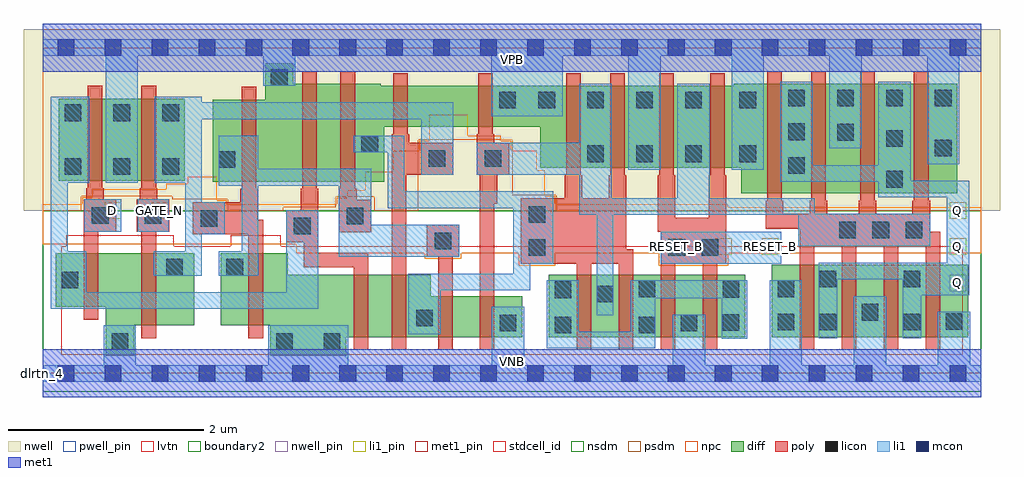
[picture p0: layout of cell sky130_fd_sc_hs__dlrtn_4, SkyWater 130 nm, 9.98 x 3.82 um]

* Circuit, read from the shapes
.subckt sky130_fd_sc_hs__dlrtn_4 D GATE_N Q RESET_B VGND VNB VPB VPWR
XM1 VGND D n1 VNB sky130_fd_pr__nfet_01v8_lvt w=0.55 l=0.15
XM2 n2 GATE_N VGND VNB sky130_fd_pr__nfet_01v8_lvt w=0.74 l=0.15
XM3 VGND n2 n3 VNB sky130_fd_pr__nfet_01v8_lvt w=0.74 l=0.15
XM4 n4 n1 VGND VNB sky130_fd_pr__nfet_01v8_lvt w=0.64 l=0.15
XM5 n5 n2 n4 VNB sky130_fd_pr__nfet_01v8_lvt w=0.64 l=0.15
XM6 n6 n3 n5 VNB sky130_fd_pr__nfet_01v8_lvt w=0.42 l=0.15
XM7 VGND n7 n6 VNB sky130_fd_pr__nfet_01v8_lvt w=0.42 l=0.15
XM8 n7 n5 n8 VNB sky130_fd_pr__nfet_01v8_lvt w=0.64 l=0.15 m=2
XM9 VGND RESET_B n8 VNB sky130_fd_pr__nfet_01v8_lvt w=0.64 l=0.15 m=2
XM10 Q n7 VGND VNB sky130_fd_pr__nfet_01v8_lvt w=0.74 l=0.15 m=4
XM11 VPWR D n1 VPB sky130_fd_pr__pfet_01v8 w=0.84 l=0.15
XM12 n2 GATE_N VPWR VPB sky130_fd_pr__pfet_01v8 w=0.84 l=0.15
XM13 VPWR n2 n3 VPB sky130_fd_pr__pfet_01v8 w=0.84 l=0.15
XM14 n9 n1 VPWR VPB sky130_fd_pr__pfet_01v8 w=1 l=0.15
XM15 n5 n3 n9 VPB sky130_fd_pr__pfet_01v8 w=1 l=0.15
XM16 n10 n2 n5 VPB sky130_fd_pr__pfet_01v8 w=0.42 l=0.15
XM17 VPWR n7 n10 VPB sky130_fd_pr__pfet_01v8 w=0.42 l=0.15
XM18 n7 n5 VPWR VPB sky130_fd_pr__pfet_01v8 w=0.84 l=0.15 m=2
XM19 n7 RESET_B VPWR VPB sky130_fd_pr__pfet_01v8 w=0.84 l=0.15 m=2
XM20 Q n7 VPWR VPB sky130_fd_pr__pfet_01v8 w=1.12 l=0.15 m=4
.ends

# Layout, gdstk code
import gdstk
lib = gdstk.Library(unit=1e-6, precision=1e-09)
def R(c, l, rs):  # rectangles x0, y0, x1, y1
    for r in rs: c.add(gdstk.rectangle(r[:2], r[2:], *l))
def A(c, l, x, y, w, h, nx, ny, dx, dy):  # array of equal rectangles
    R(c, l, [(x+i*dx, y+j*dy, x+i*dx+w, y+j*dy+h) for i in range(nx) for j in range(ny)])
def P(c, l, *ps):  # polygons
    for p in ps: c.add(gdstk.Polygon(p, *l))
nwell_pin = (64, 16)
nwell = (64, 20)
diff = (65, 20)
poly = (66, 20)
licon = (66, 44)
li1_pin = (67, 16)
li1 = (67, 20)
mcon = (67, 44)
met1_pin = (68, 16)
met1 = (68, 20)
stdcell_id = (81, 4)
nsdm = (93, 44)
psdm = (94, 20)
npc = (95, 20)
pwell_pin = (122, 16)
lvtn = (125, 44)
boundary2 = (236, 0)

sky130_fd_sc_hs__dlrtn_4 = lib.new_cell('sky130_fd_sc_hs__dlrtn_4')
R(sky130_fd_sc_hs__dlrtn_4, nwell_pin, [(0,3.085,9.6,3.33)])
R(sky130_fd_sc_hs__dlrtn_4, nwell, [(-0.19,1.66,9.79,3.52)])
R(sky130_fd_sc_hs__dlrtn_4, diff, [(5.175,0.37,7.185,1.01), (7.455,0.37,9.465,1.11), (0.165,1.97,1.455,2.81)])
P(sky130_fd_sc_hs__dlrtn_4, diff, [(1.55,1.23),(0.135,1.23),(0.135,0.68),(0.645,0.68),(0.645,0.18),(0.935,0.18),(0.935,0.49),(1.55,0.49)],
  [(4.905,0.79),(3.97,0.79),(3.97,1.01),(2.505,1.01),(2.505,1.23),(1.82,1.23),(1.82,0.49),(2.33,0.49),(2.33,0.18),(3.105,0.18),(3.105,0.37),(4.905,0.37)],
  [(9.355,2.96),(7.065,2.96),(7.065,2.94),(3.46,2.94),(3.46,2.96),(2.565,2.96),(2.565,3.17),(2.275,3.17),(2.275,2.8),(1.74,2.8),(1.74,1.96),(3.495,1.96),(3.495,2.52),(5.09,2.52),(5.09,2.1),(7.145,2.1),(7.145,1.84),(9.355,1.84)])
P(sky130_fd_sc_hs__dlrtn_4, poly, [(9.18,1.45),(9.075,1.45),(9.075,1.765),(9.06,1.765),(9.06,3.09),(8.91,3.09),(8.91,1.765),(8.895,1.765),(8.895,1.63),(8.525,1.63),(8.525,1.765),(8.51,1.765),(8.51,3.09),(8.36,3.09),(8.36,1.765),(8.345,1.765),(8.345,1.63),(8.025,1.63),(8.025,1.765),(8.01,1.765),(8.01,3.09),(7.86,3.09),(7.86,1.765),(7.845,1.765),(7.845,1.63),(7.575,1.63),(7.575,1.765),(7.56,1.765),(7.56,3.09),(7.41,3.09),(7.41,1.765),(7.395,1.765),(7.395,1.48),(7.74,1.48),(7.74,0.24),(7.89,0.24),(7.89,1.3),(8.17,1.3),(8.17,0.24),(8.32,0.24),(8.32,1.3),(8.6,1.3),(8.6,0.24),(8.75,0.24),(8.75,1.3),(9.03,1.3),(9.03,0.24),(9.18,0.24)],
  [(6.99,2.025),(6.975,2.025),(6.975,3.07),(6.825,3.07),(6.825,2.025),(6.81,2.025),(6.81,1.59),(6.47,1.59),(6.47,2.025),(6.455,2.025),(6.455,3.07),(6.305,3.07),(6.305,2.025),(6.29,2.025),(6.29,1.45),(6.32,1.45),(6.32,0.24),(6.47,0.24),(6.47,1.12),(6.75,1.12),(6.75,0.24),(6.9,0.24),(6.9,1.12),(6.99,1.12)],
  [(6.04,1.27),(5.97,1.27),(5.97,2.025),(5.955,2.025),(5.955,3.07),(5.805,3.07),(5.805,2.025),(5.79,2.025),(5.79,1.79),(5.52,1.79),(5.52,2.025),(5.505,2.025),(5.505,3.07),(5.355,3.07),(5.355,2.025),(5.34,2.025),(5.34,1.79),(4.89,1.79),(4.89,1.12),(5.46,1.12),(5.46,0.24),(5.61,0.24),(5.61,1.12),(5.89,1.12),(5.89,0.24),(6.04,0.24)],
  [(4.77,2.36),(4.62,2.36),(4.62,2.445),(4.605,2.445),(4.605,3.07),(4.455,3.07),(4.455,2.445),(4.44,2.445),(4.44,2.03),(4.47,2.03),(4.47,0.24),(4.62,0.24),(4.62,1.735),(4.65,1.735),(4.65,2.03),(4.77,2.03)],
  [(4.26,1.52),(3.93,1.52),(3.93,1.19),(4.045,1.19),(4.045,0.24),(4.195,0.24),(4.195,1.19),(4.26,1.19)],
  [(4.2,2.36),(3.75,2.36),(3.75,2.445),(3.735,2.445),(3.735,3.07),(3.585,3.07),(3.585,2.445),(3.57,2.445),(3.57,0.24),(3.72,0.24),(3.72,2.03),(4.2,2.03)],
  [(3.36,1.775),(3.21,1.775),(3.21,1.885),(3.195,1.885),(3.195,3.09),(3.045,3.09),(3.045,1.885),(3.03,1.885),(3.03,1.445),(3.36,1.445)],
  [(3.33,1.235),(2.82,1.235),(2.82,1.885),(2.805,1.885),(2.805,3.09),(2.655,3.09),(2.655,1.885),(2.64,1.885),(2.64,1.67),(2.49,1.67),(2.49,1.34),(2.67,1.34),(2.67,1.085),(3.18,1.085),(3.18,0.24),(3.33,0.24)],
  [(2.255,1.57),(2.2,1.57),(2.2,1.885),(2.185,1.885),(2.185,2.93),(2.035,2.93),(2.035,1.885),(2.02,1.885),(2.02,1.75),(1.535,1.75),(1.535,1.42),(2.105,1.42),(2.105,0.36),(2.255,0.36)],
  [(1.295,1.78),(1.175,1.78),(1.175,1.895),(1.16,1.895),(1.16,2.94),(1.01,2.94),(1.01,1.895),(0.995,1.895),(0.995,1.78),(0.965,1.78),(0.965,1.45),(1.01,1.45),(1.01,0.36),(1.16,0.36),(1.16,1.45),(1.295,1.45)],
  [(0.755,1.78),(0.625,1.78),(0.625,1.895),(0.61,1.895),(0.61,2.94),(0.46,2.94),(0.46,1.895),(0.445,1.895),(0.445,1.78),(0.42,1.78),(0.42,0.55),(0.57,0.55),(0.57,1.45),(0.755,1.45)])
A(sky130_fd_sc_hs__dlrtn_4, licon, 8.145, 1.38, 0.17, 0.17, 3, 1, 0.34, 0)
A(sky130_fd_sc_hs__dlrtn_4, licon, 0.225, 2.03, 0.17, 0.17, 3, 2, 0.5, 0.55)
A(sky130_fd_sc_hs__dlrtn_4, licon, 5.57, 2.16, 0.17, 0.17, 3, 1, 0.5, 0)
A(sky130_fd_sc_hs__dlrtn_4, licon, 5.07, 2.71, 0.17, 0.17, 4, 1, 0.5, 0)
A(sky130_fd_sc_hs__dlrtn_4, licon, 7.625, 2.73, 0.17, 0.17, 4, 1, 0.5, 0)
R(sky130_fd_sc_hs__dlrtn_4, licon, [(0.705,0.24,0.875,0.41), (2.39,0.24,2.56,0.41), (2.875,0.24,3.045,0.41), (5.235,0.41,5.405,0.58), (6.095,0.41,6.265,0.58), (4.675,0.43,4.845,0.6), (6.525,0.43,6.695,0.6), (6.955,0.435,7.125,0.605), (7.515,0.44,7.685,0.61), (7.945,0.44,8.115,0.61), (8.805,0.44,8.975,0.61), (9.235,0.445,9.405,0.615), (3.82,0.48,3.99,0.65), (8.375,0.54,8.545,0.71), (5.665,0.725,5.835,0.895), (5.235,0.77,5.405,0.94), (6.955,0.775,7.125,0.945), (6.095,0.78,6.265,0.95), (7.515,0.78,7.685,0.95), (0.195,0.87,0.365,1.04), (7.945,0.88,8.115,1.05), (8.805,0.88,8.975,1.05), (1.265,1,1.435,1.17), (1.88,1,2.05,1.17), (4.97,1.2,5.14,1.37), (6.4,1.2,6.57,1.37), (6.74,1.2,6.91,1.37), (4.01,1.27,4.18,1.44), (2.57,1.42,2.74,1.59), (1.615,1.5,1.785,1.67), (3.11,1.525,3.28,1.695), (0.505,1.53,0.675,1.7), (1.045,1.53,1.215,1.7), (4.97,1.54,5.14,1.71), (8.625,1.9,8.795,2.07), (7.625,2.04,7.795,2.21), (1.8,2.1,1.97,2.27), (3.95,2.11,4.12,2.28), (4.52,2.11,4.69,2.28), (7.125,2.16,7.295,2.33), (9.125,2.22,9.295,2.39), (3.26,2.26,3.43,2.43), (8.625,2.315,8.795,2.485), (8.125,2.38,8.295,2.55), (7.625,2.385,7.795,2.555), (4.67,2.71,4.84,2.88), (7.125,2.71,7.295,2.88), (2.335,2.94,2.505,3.11)])
A(sky130_fd_sc_hs__dlrtn_4, li1_pin, 9.275, 0.84, 0.17, 0.17, 1, 3, 0, 0.37)
A(sky130_fd_sc_hs__dlrtn_4, li1_pin, 6.395, 1.21, 0.17, 0.17, 3, 1, 0.48, 0)
R(sky130_fd_sc_hs__dlrtn_4, li1_pin, [(0.635,1.58,0.805,1.75), (1.115,1.58,1.285,1.75)])
R(sky130_fd_sc_hs__dlrtn_4, li1, [(6.32,1.12,7.555,1.45), (0.425,1.45,0.805,1.78), (0.975,1.45,1.29,1.78)])
P(sky130_fd_sc_hs__dlrtn_4, li1, [(0.645,1.95),(0.645,3.245),(0,3.245),(0,3.415),(9.6,3.415),(9.6,3.245),(9.375,3.245),(9.375,2.14),(9.045,2.14),(9.045,3.245),(8.375,3.245),(8.375,2.3),(8.045,2.3),(8.045,3.245),(7.375,3.245),(7.375,2.08),(7.045,2.08),(7.045,3.245),(6.32,3.245),(6.32,2.08),(5.99,2.08),(5.99,3.245),(5.32,3.245),(5.32,2.63),(4.59,2.63),(4.59,3.245),(2.585,3.245),(2.585,2.94),(2.255,2.94),(2.255,3.245),(0.975,3.245),(0.975,1.95)],
  [(0.625,0.085),(0.625,0.49),(0.955,0.49),(0.955,0.085),(2.31,0.085),(2.31,0.49),(3.125,0.49),(3.125,0.085),(4.595,0.085),(4.595,0.68),(4.925,0.68),(4.925,0.085),(6.445,0.085),(6.445,0.6),(6.775,0.6),(6.775,0.085),(7.435,0.085),(7.435,0.95),(7.765,0.95),(7.765,0.085),(8.295,0.085),(8.295,0.79),(8.625,0.79),(8.625,0.085),(9.155,0.085),(9.155,0.63),(9.485,0.63),(9.485,0.085),(9.6,0.085),(9.6,-0.085),(0,-0.085),(0,0.085)],
  [(5.82,1.79),(6.49,1.79),(6.49,2.96),(6.82,2.96),(6.82,1.79),(7.895,1.79),(7.895,1.63),(9.075,1.63),(9.075,1.3),(7.725,1.3),(7.725,1.62),(5.835,1.62),(5.835,0.595),(5.665,0.595),(5.665,1.62),(5.49,1.62),(5.49,2.03),(4.44,2.03),(4.44,2.36),(5.49,2.36),(5.49,2.96),(5.82,2.96)],
  [(3.53,1.69),(3.53,2.26),(3.18,2.26),(3.18,2.43),(3.7,2.43),(3.7,1.86),(5.22,1.86),(5.22,1.12),(4.985,1.12),(4.985,0.85),(4.07,0.85),(4.07,0.4),(3.74,0.4),(3.74,1.02),(4.815,1.02),(4.815,1.69)],
  [(1.46,1.95),(1.145,1.95),(1.145,2.83),(1.63,2.83),(1.63,2.77),(4.2,2.77),(4.2,2.03),(3.87,2.03),(3.87,2.6),(1.63,2.6),(1.63,1.75),(1.865,1.75),(1.865,1.42),(1.63,1.42),(1.63,1),(1.135,1),(1.135,1.25),(1.46,1.25)],
  [(0.445,0.83),(2.49,0.83),(2.49,1.67),(2.82,1.67),(2.82,0.66),(0.085,0.66),(0.085,2.83),(0.475,2.83),(0.475,1.95),(0.255,1.95),(0.255,1.25),(0.445,1.25)],
  [(2.205,2.09),(3.36,2.09),(3.36,1.52),(4.26,1.52),(4.26,1.19),(3.03,1.19),(3.03,1.92),(2.205,1.92),(2.205,1),(1.8,1),(1.8,1.25),(2.035,1.25),(2.035,1.92),(1.8,1.92),(1.8,2.43),(2.205,2.43)],
  [(7.205,0.95),(6.015,0.95),(6.015,0.425),(5.485,0.425),(5.485,0.95),(5.155,0.95),(5.155,0.255),(6.265,0.255),(6.265,0.77),(6.945,0.77),(6.945,0.355),(7.205,0.355)],
  [(9.475,1.97),(8.875,1.97),(8.875,2.98),(8.545,2.98),(8.545,2.13),(7.875,2.13),(7.875,2.98),(7.545,2.98),(7.545,1.96),(8.545,1.96),(8.545,1.8),(9.245,1.8),(9.245,1.13),(7.935,1.13),(7.935,0.36),(8.125,0.36),(8.125,0.96),(8.795,0.96),(8.795,0.36),(8.985,0.36),(8.985,0.8),(9.475,0.8)])
A(sky130_fd_sc_hs__dlrtn_4, mcon, 0.155, -0.085, 0.17, 0.17, 20, 2, 0.48, 3.33)
R(sky130_fd_sc_hs__dlrtn_4, met1_pin, [(0,0,9.6,0.245), (0,3.085,9.6,3.33)])
R(sky130_fd_sc_hs__dlrtn_4, met1, [(0,-0.245,9.6,0.245), (0,3.085,9.6,3.575)])
R(sky130_fd_sc_hs__dlrtn_4, stdcell_id, [(0,0,9.6,3.33)])
R(sky130_fd_sc_hs__dlrtn_4, nsdm, [(0,-0.19,9.6,1.66)])
P(sky130_fd_sc_hs__dlrtn_4, psdm, [(9.6,3.52),(0,3.52),(0,1.66),(0.395,1.66),(0.395,1.81),(1.325,1.81),(1.325,1.78),(1.895,1.78),(1.895,1.66),(2.46,1.66),(2.46,1.7),(3,1.7),(3,1.805),(3.39,1.805),(3.39,1.66),(3.84,1.66),(3.84,2.39),(4.8,2.39),(4.8,1.82),(5.25,1.82),(5.25,1.66),(9.6,1.66)])
P(sky130_fd_sc_hs__dlrtn_4, npc, [(9.6,1.7),(7.005,1.7),(7.005,1.73),(5.24,1.73),(5.24,1.81),(5.135,1.81),(5.135,2.075),(5.055,2.075),(5.055,2.275),(4.79,2.275),(4.79,2.38),(4.685,2.38),(4.685,2.43),(4.35,2.43),(4.35,2.645),(3.955,2.645),(3.955,2.38),(3.85,2.38),(3.85,2.275),(3.585,2.275),(3.585,2.06),(3.3,2.06),(3.3,1.87),(3.115,1.87),(3.115,1.795),(3.01,1.795),(3.01,1.73),(1.885,1.73),(1.885,1.77),(1.78,1.77),(1.78,2.01),(1.485,2.01),(1.485,1.94),(1.265,1.94),(1.265,1.88),(0.51,1.88),(0.51,1.8),(0.405,1.8),(0.405,1.73),(0,1.73),(0,1.32),(2.595,1.32),(2.595,1.23),(3.91,1.23),(3.91,1.17),(4.28,1.17),(4.28,1.23),(4.87,1.23),(4.87,1.1),(5.24,1.1),(5.24,1.23),(6.3,1.23),(6.3,1.1),(7.01,1.1),(7.01,1.23),(9.6,1.23)])
R(sky130_fd_sc_hs__dlrtn_4, pwell_pin, [(0,0,9.6,0.245)])
P(sky130_fd_sc_hs__dlrtn_4, lvtn, [(9.41,1.3),(2.435,1.3),(2.435,1.41),(1.925,1.41),(1.925,1.3),(1.34,1.3),(1.34,1.41),(0.24,1.41),(0.24,1.3),(0.19,1.3),(0.19,0.19),(9.41,0.19)])
R(sky130_fd_sc_hs__dlrtn_4, boundary2, [(0,0,9.6,3.33)])
sky130_fd_sc_hs__dlrtn_4.add(gdstk.Label('dlrtn_4', (0,0), layer=83, texttype=44))
sky130_fd_sc_hs__dlrtn_4.add(gdstk.Label('VNB', (4.8,0.123), layer=64, texttype=59))
sky130_fd_sc_hs__dlrtn_4.add(gdstk.Label('VPB', (4.8,3.208), layer=64, texttype=5))
sky130_fd_sc_hs__dlrtn_4.add(gdstk.Label('VPWR', (4.8,3.208), layer=68, texttype=5))
sky130_fd_sc_hs__dlrtn_4.add(gdstk.Label('VGND', (4.8,0.123), layer=68, texttype=5))
sky130_fd_sc_hs__dlrtn_4.add(gdstk.Label('D', (0.72,1.665), layer=67, texttype=5))
sky130_fd_sc_hs__dlrtn_4.add(gdstk.Label('GATE_N', (1.2,1.665), layer=67, texttype=5))
sky130_fd_sc_hs__dlrtn_4.add(gdstk.Label('RESET_B', (6.48,1.295), layer=67, texttype=5))
sky130_fd_sc_hs__dlrtn_4.add(gdstk.Label('RESET_B', (6.96,1.295), layer=67, texttype=5))
sky130_fd_sc_hs__dlrtn_4.add(gdstk.Label('RESET_B', (7.44,1.295), layer=67, texttype=5))
sky130_fd_sc_hs__dlrtn_4.add(gdstk.Label('Q', (9.36,0.925), layer=67, texttype=5))
sky130_fd_sc_hs__dlrtn_4.add(gdstk.Label('Q', (9.36,1.295), layer=67, texttype=5))
sky130_fd_sc_hs__dlrtn_4.add(gdstk.Label('Q', (9.36,1.665), layer=67, texttype=5))

lib.write_gds('sky130_fd_sc_hs__dlrtn_4.gds')
